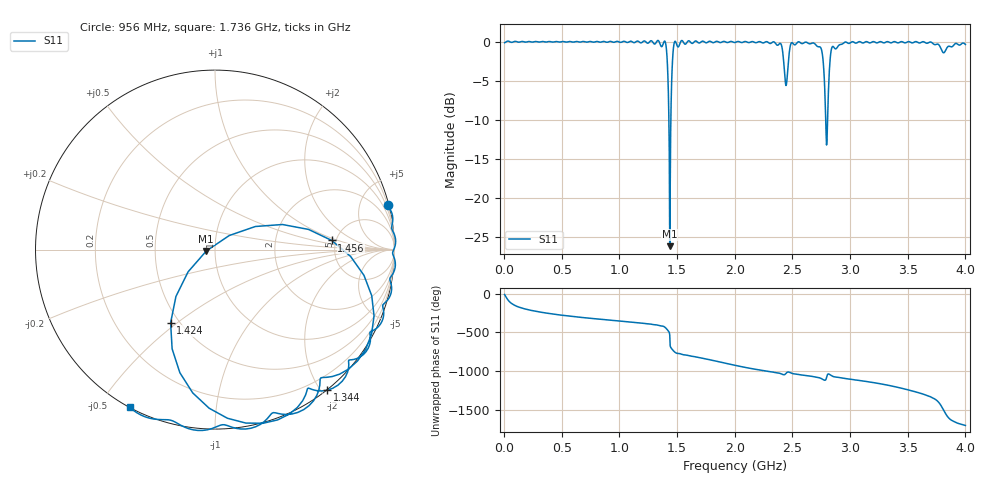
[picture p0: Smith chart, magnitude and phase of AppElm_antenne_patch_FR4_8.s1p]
! TOUCHSTONE file generated by CST MICROWAVE STUDIO
! Date and time: Tue Jun  7 20:03:47 2022
! Project name: AppElm_antenne_patch_FR4.cst
! Parameters = {L=49.5; W=58.5; e=0.035; h=1.6; lambda=0.190476; ls=120; w0=1.6; w1=0.533333; ws=120; y0=20; y1=23.8095}
! Header version: 2018
! Port assignment regex: !\s*Touchstone port\s*([0-9]+)\s*=\s*(CST MWS port|CST DS port)\s*([0-9]+|Zmin|Zmax)\s*\(\"(.*)\"\)(\s*mode\s*([0-9]+))?.*
! Touchstone port assignment:
! Touchstone port 1 = CST MWS port 1 ("")
# GHz S MA R 50
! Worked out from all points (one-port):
!   1000 points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, 4 MHz to 4 GHz, reference 50 ohm
!   lowest |S11| = -26.2 dB at 1.436 GHz (marker M1), VSWR 1.10, Z = 45.4 - j0.705 ohm
!   |S11| at or under -10 dB: 1.429 GHz to 1.446 GHz (17.31 MHz wide, 1.2 % of centre); 2.789 GHz to 2.805 GHz (16.08 MHz wide, 0.575 % of centre)
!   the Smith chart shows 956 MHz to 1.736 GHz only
!   S11 on the Smith chart (normalised r, x): 956 MHz: 0.21, +7.95; 1.344 GHz: -0.00, -2.08; 1.424 GHz: 0.45, -0.47; 1.456 GHz: 4.60, +0.82; 1.736 GHz: 0.00, -0.60
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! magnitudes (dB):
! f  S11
! 4 MHz  -0.1
! 504 MHz  0.0
! 956 MHz  -0.1
! 1.004 GHz  -0.1
! 1.344 GHz  0.0
! 1.4 GHz  -0.2
! 1.412 GHz  -1.9
! 1.424 GHz  -6.4
! 1.436 GHz  -26.2
! 1.456 GHz  -3.7
! 1.464 GHz  -1.5
! 1.472 GHz  -0.4
! 1.504 GHz  -0.6
! 1.736 GHz  0.0
! 2.004 GHz  -0.1
! 2.388 GHz  -0.2
! 2.444 GHz  -5.6
! 2.504 GHz  -0.2
! 2.74 GHz  -0.7
! 2.76 GHz  -1.6
! 2.784 GHz  -7.6
! 2.796 GHz  -13.2
! 2.832 GHz  -1.5
! 2.848 GHz  -0.6
! 3.004 GHz  -0.1
! 3.504 GHz  0.0
! 3.812 GHz  -1.4
! 4 GHz  -0.3
